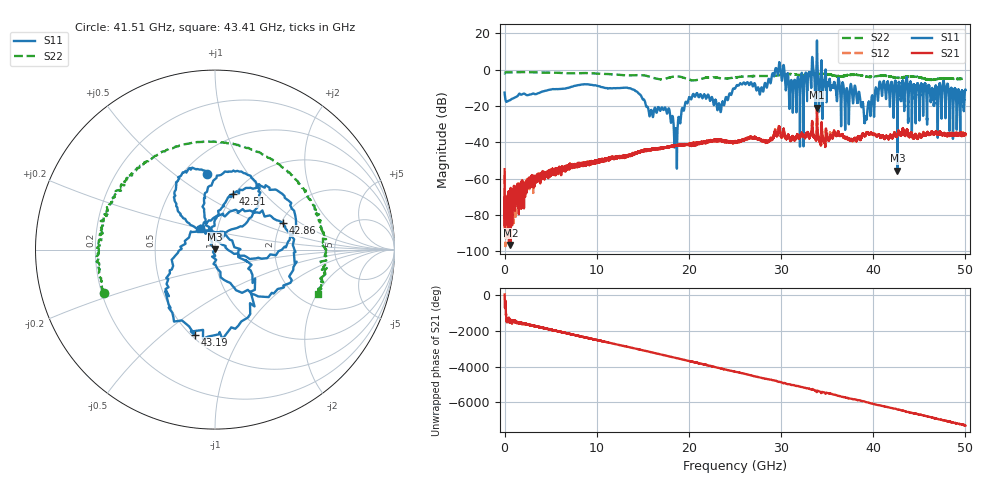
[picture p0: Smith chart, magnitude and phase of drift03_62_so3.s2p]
!Created with skrf (http://scikit-rf.org).
# Hz S RI R 50.0
!freq ReS11 ImS11 ReS21 ImS21 ReS12 ImS12 ReS22 ImS22
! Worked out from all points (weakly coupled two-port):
!   10001 points, 300 kHz to 50 GHz, reference 50 ohm
!   highest |S21| = -21.01 dB at 33.9 GHz (marker M1); lowest = -96.6 dB at 625.3 MHz (marker M2)
!   lowest |S11| = -55.5 dB at 42.63 GHz (marker M3), VSWR 1.00, Z = 50.1 + j0.101 ohm
!   |S11| at or under -10 dB: start of sweep to 6.949 GHz; 13.32 GHz to 25.05 GHz (11.73 GHz wide, 61.1 % of centre); 38.07 GHz to 40.27 GHz (2.193 GHz wide, 5.6 % of centre) (the widest 3 of 58)
!   |S22| runs from -5.9 to -1.3 dB; largest |S21 - S12| = 0.0087
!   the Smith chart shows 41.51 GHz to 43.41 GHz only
!   S11 on the Smith chart (normalised r, x): 41.51 GHz: 0.65, +0.66; 42.51 GHz: 0.99, +0.69; 42.86 GHz: 2.04, +0.73; 43.19 GHz: 0.52, -0.65; 43.41 GHz: 0.83, +0.20
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300000  -0.2096 -0.1028  0.00154 0.00097  0.000434 0.00116  -0.7654 -0.1967
6.252962e8  -0.0429 0.1398  9.31e-07 -1.48e-05  0.00039 -5.87e-05  -0.2514 0.8052
2.330286e9  0.0244 -0.2015  -0.000573 3.55e-05  -0.000672 7.93e-05  0.0979 -0.8503
3.935276e9  -0.0197 0.2403  0.00113 -0.000386  0.00113 9.57e-05  -0.0297 0.8314
8.33525e9  0.2835 -0.2678  -0.00228 -0.000795  -0.00214 -0.0011  0.6013 -0.5368
9.585242e9  -0.3715 -0.0406  0.00135 0.00248  0.00167 0.0024  -0.7871 -0.0803
1.123523e10  0.3056 0.0292  -0.00242 -0.00265  -0.002 -0.00262  0.7561 0.0341
1.66702e10  0.0539 0.0755  0.00467 -0.00491  0.00479 -0.0049  -0.3592 0.4176
2.500015e10  -0.2965 -0.0482  0.00766 0.00621  0.00798 0.00671  -0.1855 -0.581
3.051512e10  0.2371 -0.1279  -0.00266 0.0124  -0.00231 0.0123  0.7425 -0.0695
3.213011e10  0.2017 0.375  -0.000374 -0.015  -0.000732 -0.0149  -0.7033 0.00951
3.33351e10  0.5019 -0.9854  -0.00498 0.0247  -0.00643 0.0246  0.6165 0.3654
3.38951e10  -0.422 -6.355  0.0882 0.0119  0.0822 0.00939  0.676 -0.3237
4.151005e10  -0.0446 0.4216  -0.0103 -0.0099  -0.0106 -0.00982  -0.621 -0.2408
4.167005e10  -0.2262 0.2836  -0.0121 -0.00437  -0.0117 -0.0048  -0.6505 -0.0538
4.250504e10  0.1008 0.3105  -0.00504 0.0134  -0.00493 0.0138  -0.0235 0.6014
4.263004e10  0.00133 0.00101  0.000865 0.0161  0.00104 0.0165  0.1382 0.577
4.285504e10  0.3783 0.1482  0.00581 0.0157  0.00535 0.0165  0.4049 0.4356
4.318504e10  -0.1141 -0.4741  0.0226 0.0054  0.0218 0.00578  0.6014 0.0615
4.341004e10  -0.0826 0.1159  0.0154 -0.00215  0.0153 -0.0027  0.5762 -0.2483
4.489503e10  -0.1897 0.2721  -0.0139 0.00192  -0.014 0.00254  -0.6252 -0.0469
5e10  -0.1353 -0.2447  0.000155 -0.0158  0.00112 -0.0159  0.4668 -0.3162
